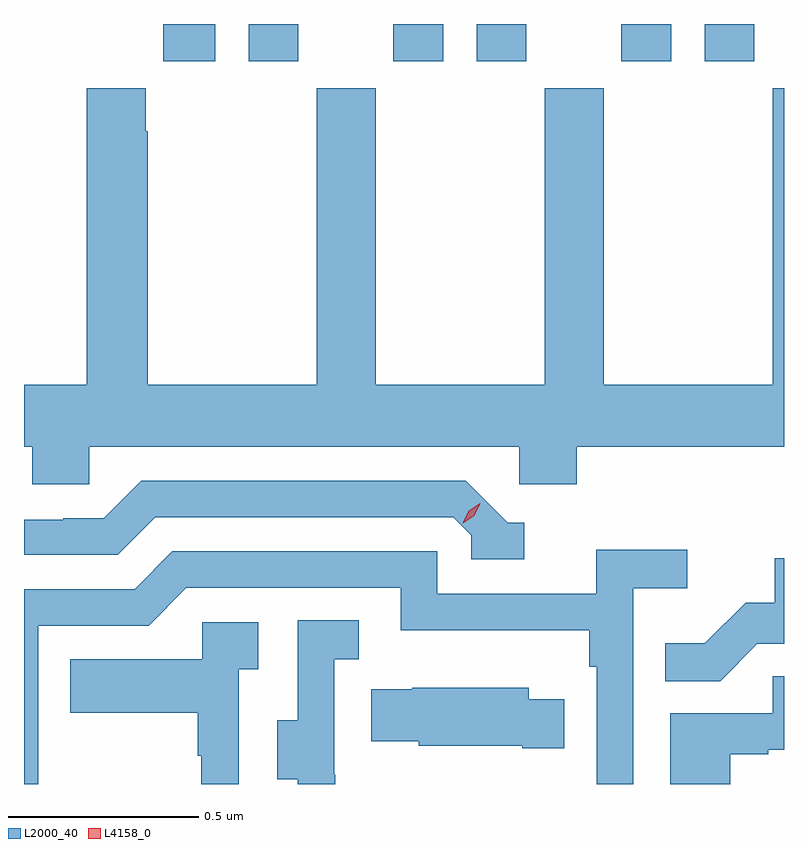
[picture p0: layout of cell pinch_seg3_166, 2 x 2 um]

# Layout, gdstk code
import gdstk
lib = gdstk.Library(unit=1e-6, precision=1e-09)
def R(c, l, rs):  # rectangles x0, y0, x1, y1
    for r in rs: c.add(gdstk.rectangle(r[:2], r[2:], *l))
def P(c, l, *ps):  # polygons
    for p in ps: c.add(gdstk.Polygon(p, *l))
L2000_40 = (2000, 40)
L4158_0 = (4158, 0)

pinch_seg3_166 = lib.new_cell('pinch_seg3_166')
R(pinch_seg3_166, L2000_40, [(1101.071,717.915,1101.208,718.013), (1101.296,717.915,1101.427,718.013), (1101.677,717.915,1101.808,718.013), (1101.896,717.915,1102.027,718.013), (1102.277,717.915,1102.408,718.013), (1102.496,717.915,1102.627,718.013)])
P(pinch_seg3_166, L2000_40, [(1100.877,716.9),(1102.008,716.9),(1102.008,716.802),(1102.16,716.802),(1102.16,716.9),(1102.705,716.9),(1102.705,717.844),(1102.675,717.844),(1102.675,717.064),(1102.23,717.064),(1102.23,717.844),(1102.075,717.844),(1102.075,717.064),(1101.63,717.064),(1101.63,717.844),(1101.475,717.844),(1101.475,717.064),(1101.03,717.064),(1101.03,717.731),(1101.025,717.731),(1101.025,717.844),(1100.87,717.844),(1100.87,717.064),(1100.705,717.064),(1100.705,716.9),(1100.727,716.9),(1100.727,716.802),(1100.877,716.802)],
  [(1102.021,716.7),(1101.978,716.7),(1101.867,716.811),(1101.014,716.811),(1100.915,716.712),(1100.808,716.712),(1100.808,716.709),(1100.705,716.709),(1100.705,716.616),(1100.952,716.616),(1101.051,716.715),(1101.834,716.715),(1101.882,716.667),(1101.882,716.604),(1102.021,716.604)],
  [(1100.742,716.43),(1101.033,716.43),(1101.132,716.529),(1101.696,716.529),(1101.696,716.417),(1102.192,716.417),(1102.192,716.321),(1102.212,716.321),(1102.212,716.013),(1102.308,716.013),(1102.308,716.528),(1102.45,716.528),(1102.45,716.63),(1102.211,716.63),(1102.211,716.514),(1101.792,716.514),(1101.792,716.625),(1101.095,716.625),(1100.996,716.526),(1100.705,716.526),(1100.705,716.013),(1100.742,716.013)],
  [(1102.635,716.382),(1102.705,716.382),(1102.705,716.607),(1102.681,716.607),(1102.681,716.49),(1102.604,716.49),(1102.497,716.383),(1102.393,716.383),(1102.393,716.284),(1102.537,716.284)],
  [(1101.524,716.037),(1101.522,716.037),(1101.522,716.341),(1101.586,716.341),(1101.586,716.444),(1101.426,716.444),(1101.426,716.181),(1101.371,716.181),(1101.371,716.026),(1101.425,716.026),(1101.425,716.013),(1101.524,716.013)],
  [(1101.27,716.315),(1101.322,716.315),(1101.322,716.439),(1101.174,716.439),(1101.174,716.341),(1100.827,716.341),(1100.827,716.201),(1101.162,716.201),(1101.162,716.087),(1101.172,716.087),(1101.172,716.013),(1101.27,716.013)],
  [(1102.564,716.091),(1102.664,716.091),(1102.664,716.103),(1102.705,716.103),(1102.705,716.297),(1102.675,716.297),(1102.675,716.199),(1102.406,716.199),(1102.406,716.013),(1102.564,716.013)],
  [(1102.127,716.236),(1102.033,716.236),(1102.033,716.266),(1101.727,716.266),(1101.727,716.263),(1101.619,716.263),(1101.619,716.126),(1101.744,716.126),(1101.744,716.114),(1102.016,716.114),(1102.016,716.107),(1102.127,716.107)])
P(pinch_seg3_166, L4158_0, [(1101.86,716.699),(1101.86,716.699),(1101.876,716.732),(1101.906,716.752),(1101.906,716.752),(1101.906,716.752),(1101.89,716.719),(1101.86,716.699)])

lib.write_gds('pinch_seg3_166.gds')
